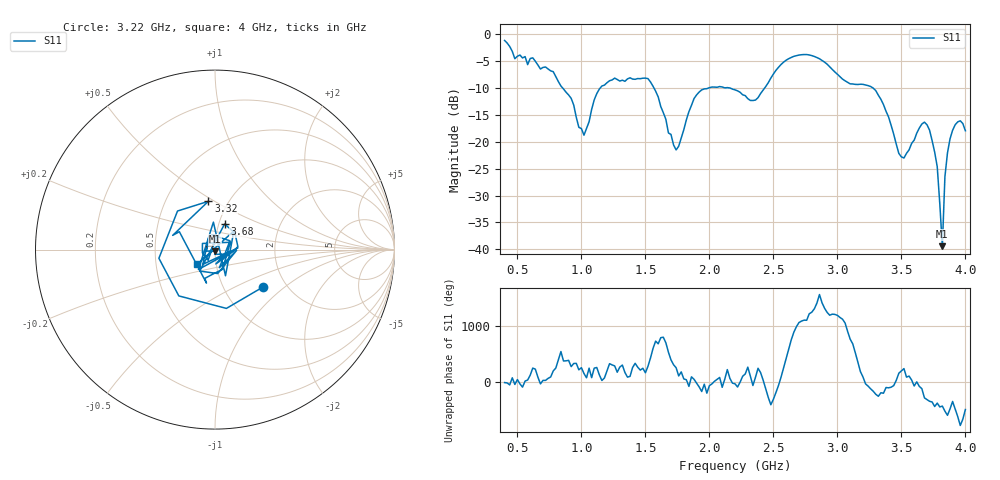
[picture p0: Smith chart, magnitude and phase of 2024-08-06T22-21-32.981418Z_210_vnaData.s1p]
!Created with skrf (http://scikit-rf.org).
# Hz S RI R 50.0
!freq ReS11 ImS11
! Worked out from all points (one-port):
!   181 points, 400 MHz to 4 GHz, reference 50 ohm
!   lowest |S11| = -39.4 dB at 3.82 GHz (marker M1), VSWR 1.02, Z = 50.2 - j1.05 ohm
!   |S11| at or under -10 dB: 854.6 MHz to 1.146 GHz (291.6 MHz wide, 29.1 % of centre); 1.567 GHz to 1.991 GHz (423.2 MHz wide, 23.8 % of centre); 3.28 GHz to end of sweep (the widest 3 of 4)
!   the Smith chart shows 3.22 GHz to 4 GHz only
!   S11 on the Smith chart (normalised r, x): 3.22 GHz: 1.52, -0.72; 3.32 GHz: 0.81, +0.47; 3.68 GHz: 1.07, +0.31; 4 GHz: 0.81, -0.13
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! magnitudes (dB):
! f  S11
! 400 MHz  -1.1
! 480 MHz  -4.5
! 620 MHz  -4.4
! 860 MHz  -10.1
! 1.02 GHz  -18.8
! 1.14 GHz  -10.2
! 1.3 GHz  -8.7
! 1.52 GHz  -8.2
! 1.72 GHz  -20.6
! 1.76 GHz  -20.8
! 1.92 GHz  -10.7
! 2.2 GHz  -10.3
! 2.36 GHz  -12.2
! 2.66 GHz  -4.1
! 2.86 GHz  -4.5
! 3.1 GHz  -9.2
! 3.22 GHz  -9.4
! 3.32 GHz  -11.3
! 3.48 GHz  -22.2
! 3.56 GHz  -21.5
! 3.68 GHz  -16.3
! 3.72 GHz  -17.8
! 3.78 GHz  -24.6
! 3.82 GHz  -39.4
! 3.84 GHz  -26.5
! 3.88 GHz  -19.4
! 3.94 GHz  -16.3
! 4 GHz  -17.9
